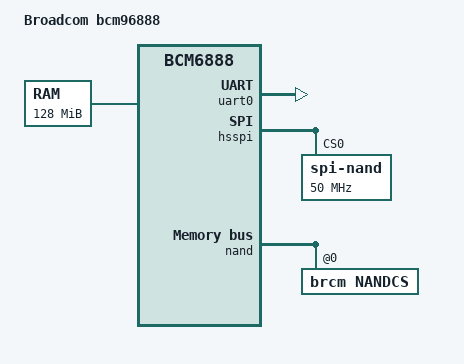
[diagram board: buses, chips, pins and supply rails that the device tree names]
// SPDX-License-Identifier: GPL-2.0+
/*
 *  Copyright 2020 Broadcom Ltd.
 */

/dts-v1/;

#include "bcm6888.dtsi"

/ {
	model = "Broadcom bcm96888";
	compatible = "broadcom,bcm96888", "brcm,bcm6888";

	aliases {
		serial0 = &uart0;
	};

	chosen {
		stdout-path = "serial0:115200n8";
	};

	memory {
		device_type = "memory";
		reg = <0x0 0x0 0x0 0x08000000>;
	};
	boot_state {
		u-boot,dm-pre-reloc;
		compatible = "brcm,bcmbca-bootstate-v2";
		reg-names = "reset_reason", "reset_status";
		reg =   <0x0 0xff802628 0x0 0x04>,
			<0x0 0xff85a01c 0x0 0x04>;
	};
};

&uart0 {
	u-boot,dm-pre-reloc;
	status = "okay";
};

&hsspi {
	status = "okay";
	spi-nand {
		compatible = "spi-nand";
		reg = <0>;
		#address-cells = <1>;
		#size-cells = <0>;
		u-boot,dm-pre-reloc;				
		spi-max-frequency = <50000000>;
	};
};

&nand {
	status = "okay";
	write-protect = <0>;
	#address-cells = <1>;
	#size-cells = <0>;

	nandcs@0 {
		compatible = "brcm,nandcs";
		reg = <0>;
	};
};

